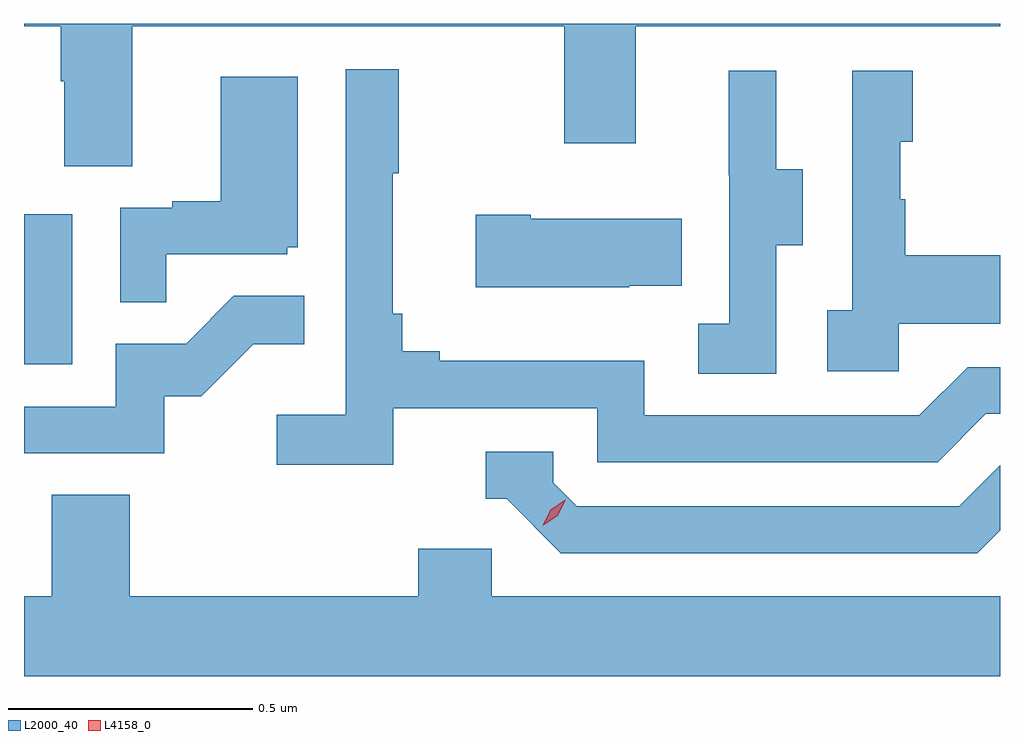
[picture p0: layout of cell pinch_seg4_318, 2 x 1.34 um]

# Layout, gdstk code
import gdstk
lib = gdstk.Library(unit=1e-6, precision=1e-09)
def R(c, l, rs):  # rectangles x0, y0, x1, y1
    for r in rs: c.add(gdstk.rectangle(r[:2], r[2:], *l))
def P(c, l, *ps):  # polygons
    for p in ps: c.add(gdstk.Polygon(p, *l))
L2000_40 = (2000, 40)
L4158_0 = (4158, 0)

pinch_seg4_318 = lib.new_cell('pinch_seg4_318')
R(pinch_seg4_318, L2000_40, [(940.609,805.452,940.708,805.759)])
P(pinch_seg4_318, L2000_40, [(940.831,806.144),(941.716,806.144),(941.716,805.905),(941.863,805.905),(941.863,806.144),(942.609,806.144),(942.609,806.15),(940.609,806.15),(940.609,806.144),(940.684,806.144),(940.684,806.032),(940.691,806.032),(940.691,805.858),(940.831,805.858)],
  [(941.366,805.362),(941.784,805.362),(941.784,805.251),(942.481,805.251),(942.58,805.35),(942.609,805.35),(942.609,805.446),(942.543,805.446),(942.444,805.347),(941.88,805.347),(941.88,805.459),(941.461,805.459),(941.461,805.478),(941.384,805.478),(941.384,805.555),(941.365,805.555),(941.365,805.843),(941.377,805.843),(941.377,806.056),(941.268,806.056),(941.268,805.348),(941.127,805.348),(941.127,805.246),(941.366,805.246)],
  [(942.402,805.535),(942.609,805.535),(942.609,805.675),(942.415,805.675),(942.415,805.79),(942.405,805.79),(942.405,805.908),(942.43,805.908),(942.43,806.053),(942.306,806.053),(942.306,805.562),(942.255,805.562),(942.255,805.437),(942.402,805.437)],
  [(942.15,805.696),(942.205,805.696),(942.205,805.851),(942.151,805.851),(942.151,806.053),(942.053,806.053),(942.053,805.839),(942.054,805.839),(942.054,805.535),(941.991,805.535),(941.991,805.432),(942.15,805.432)],
  [(940.901,805.677),(941.148,805.677),(941.148,805.692),(941.17,805.692),(941.17,806.041),(941.012,806.041),(941.012,805.786),(940.913,805.786),(940.913,805.773),(940.806,805.773),(940.806,805.579),(940.901,805.579)],
  [(941.849,805.613),(941.957,805.613),(941.957,805.75),(941.647,805.75),(941.647,805.758),(941.535,805.758),(941.535,805.61),(941.849,805.61)],
  [(940.896,805.386),(940.972,805.386),(941.079,805.493),(941.183,805.493),(941.183,805.592),(941.039,805.592),(940.941,805.494),(940.797,805.494),(940.797,805.365),(940.609,805.365),(940.609,805.269),(940.896,805.269)],
  [(942.609,805.112),(942.609,805.245),(942.525,805.161),(941.742,805.161),(941.694,805.209),(941.694,805.272),(941.555,805.272),(941.555,805.176),(941.598,805.176),(941.709,805.065),(942.562,805.065)],
  [(942.609,804.976),(941.568,804.976),(941.568,805.074),(941.417,805.074),(941.417,804.976),(940.826,804.976),(940.826,805.184),(940.666,805.184),(940.666,804.976),(940.609,804.976),(940.609,804.812),(942.609,804.812)])
P(pinch_seg4_318, L4158_0, [(941.672,805.122),(941.672,805.122),(941.688,805.154),(941.718,805.174),(941.719,805.174),(941.719,805.174),(941.703,805.141),(941.673,805.122)])

lib.write_gds('pinch_seg4_318.gds')
